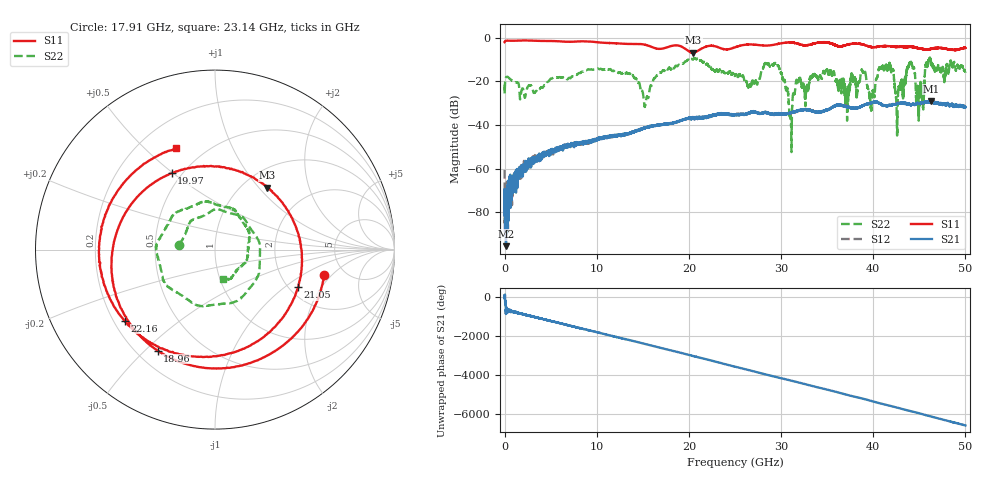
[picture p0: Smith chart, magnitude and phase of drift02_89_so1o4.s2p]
!Created with skrf (http://scikit-rf.org).
# Hz S RI R 50.0
!freq ReS11 ImS11 ReS21 ImS21 ReS12 ImS12 ReS22 ImS22
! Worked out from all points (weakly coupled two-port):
!   10001 points, 300 kHz to 50 GHz, reference 50 ohm
!   highest |S21| = -29.11 dB at 46.31 GHz (marker M1); lowest = -95.6 dB at 150.3 MHz (marker M2)
!   lowest |S11| = -6.9 dB at 20.47 GHz (marker M3), VSWR 2.65, Z = 64.1 + j55.6 ohm
!   |S11| at or under -10 dB: nowhere
!   |S22| runs from -52.5 to -9.2 dB; largest |S21 - S12| = 0.0031
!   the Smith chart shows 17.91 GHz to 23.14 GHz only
!   S11 on the Smith chart (normalised r, x): 17.91 GHz: 3.54, -1.61; 18.96 GHz: 0.28, -0.55; 19.97 GHz: 0.44, +0.49; 21.05 GHz: 2.23, -1.27; 22.16 GHz: 0.24, -0.33; 23.14 GHz: 0.35, +0.63
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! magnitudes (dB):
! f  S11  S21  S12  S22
! 300 kHz  -2.1  -69.8  -60.7  -21.6
! 150.3 MHz  -1.5  -95.6  -75.5  -18.3
! 8.335 GHz  -1.7  -48.3  -48.8  -15.7
! 15.33 GHz  -3.4  -41.2  -41.2  -29.3
! 16.67 GHz  -5.2  -40.0  -40.2  -17.0
! 17.91 GHz  -4.1  -39.4  -39.3  -13.9
! 18.96 GHz  -3.8  -38.3  -38.2  -12.5
! 19.97 GHz  -6.2  -37.0  -37.0  -10.1
! 20.47 GHz  -6.9  -37.0  -36.8  -9.9
! 21.05 GHz  -5.9  -36.5  -36.5  -10.0
! 22.16 GHz  -3.9  -36.2  -36.4  -13.2
! 23.14 GHz  -4.4  -35.3  -35.2  -15.4
! 25 GHz  -4.5  -35.1  -35.6  -17.6
! 29.52 GHz  -3.1  -34.8  -35.0  -12.6
! 31.03 GHz  -2.2  -34.6  -34.6  -35.9
! 33.34 GHz  -3.0  -33.7  -33.5  -18.1
! 38.92 GHz  -3.2  -31.0  -31.1  -16.2
! 39.88 GHz  -4.4  -30.0  -29.9  -27.3
! 41.67 GHz  -3.9  -31.0  -31.1  -13.4
! 42.6 GHz  -4.3  -30.4  -30.1  -42.1
! 46.31 GHz  -5.1  -29.1  -29.3  -11.9
! 50 GHz  -4.8  -32.1  -32.1  -16.1
